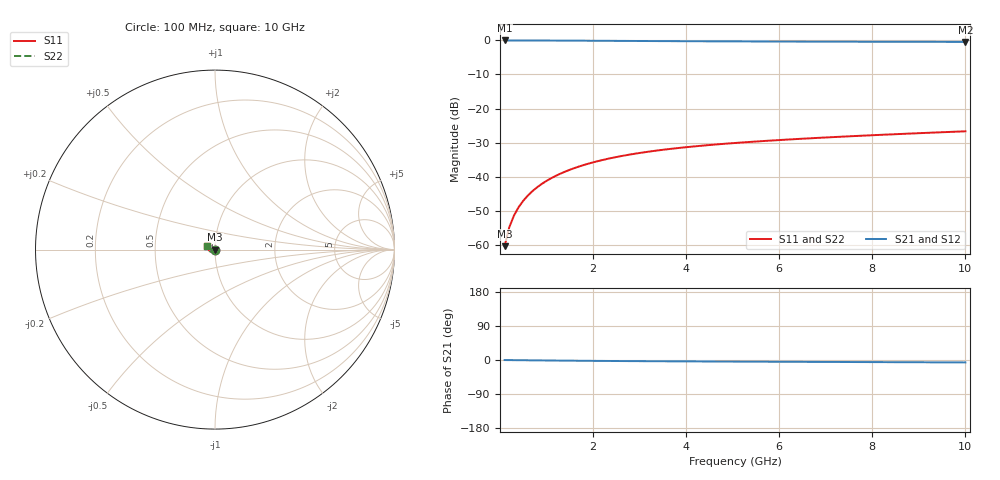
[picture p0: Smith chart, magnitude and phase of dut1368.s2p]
! Touchstone file exported from HFSS 2024.1.0
!  File:  C:/UserFiles/LocalFiles/RDL_TSV_Batchsim/temp_TSV1_1368_1780378989.aedt
!  Generated:  01:53:44 PM Jun  2, 2026
!  Design:  TSV1
!  Project:  temp_TSV1_1368_1780378989
!  Setup:  Setup1
!  Solution:  Sweep
! Variables:
!  dtsv = 6.63um
!  hbump = 3um
!  htsv = 99.95um
!  lrdl = 252.1521522um
!  p = 40
!  p1 = 47.99um
!  t = 500um
!  trdl = 3um
!  wrdl = 24.89489489um
# GHz S MA R 50.000000
! Terminal data exported
! Port[1] = TSV22_T1
! Port[2] = TSV22_T2
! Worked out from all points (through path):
!   100 points, 100 MHz to 10 GHz, reference 50 ohm
!   highest |S21| = 0.00 dB at 100 MHz (marker M1); lowest = -0.4 dB at 10 GHz (marker M2)
!   lowest |S11| = -60.4 dB at 100 MHz (marker M3), VSWR 1.00, Z = 50 - j0.0887 ohm
!   |S11| at or under -10 dB: start of sweep to end of sweep
!   |S22| runs from -60.4 to -26.7 dB; largest |S21 - S12| = 4e-15
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0.1  0.000952 -68.6  0.9996 -0.1  0.9996 -0.1  0.000952 -68.6
! Gamma 0 0 0 0
! Port Impedance 50 0 50 0
0.2  0.001805 -81.8  0.9995 -0.3  0.9995 -0.3  0.001805 -81.8
0.3  0.002677 -87.7  0.9993 -0.4  0.9993 -0.4  0.002677 -87.7
0.4  0.003549 -91.7  0.9991 -0.5  0.9991 -0.5  0.003549 -91.7
0.5  0.004419 -94.8  0.9988 -0.6  0.9988 -0.6  0.004419 -94.8
0.6  0.005283 -97.6  0.9985 -0.8  0.9985 -0.8  0.005283 -97.6
0.7  0.006139 -100.1  0.9981 -0.9  0.9981 -0.9  0.006139 -100.1
0.8  0.006988 -102.4  0.9977 -1.0  0.9977 -1.0  0.006988 -102.4
0.9  0.007826 -104.7  0.9972 -1.1  0.9972 -1.1  0.007826 -104.7
1.1  0.009469 -108.9  0.9961 -1.3  0.9961 -1.3  0.009469 -108.9
1.4  0.01184 -114.9  0.9942 -1.7  0.9942 -1.7  0.01184 -114.9
1.6  0.01335 -118.6  0.9927 -1.9  0.9927 -1.9  0.01335 -118.6
1.8  0.0148 -122.3  0.9912 -2.1  0.9912 -2.1  0.0148 -122.3
2.1  0.01686 -127.5  0.9888 -2.3  0.9888 -2.3  0.01686 -127.5
2.5  0.01939 -134.0  0.9856 -2.7  0.9856 -2.7  0.01939 -134.0
2.9  0.0217 -140.1  0.9823 -3.0  0.9823 -3.0  0.0217 -140.1
3.4  0.02429 -147.2  0.9784 -3.3  0.9784 -3.3  0.02429 -147.2
4.2  0.0279 -157.3  0.9729 -3.8  0.9729 -3.8  0.0279 -157.3
5.1  0.03137 -167.2  0.9676 -4.2  0.9676 -4.2  0.03137 -167.2
6.7  0.03666 178.3  0.9607 -5.0  0.9607 -5.0  0.03666 178.3
8.4  0.04171 165.9  0.9557 -5.7  0.9557 -5.7  0.04171 165.9
10  0.0463 156.5  0.9523 -6.4  0.9523 -6.4  0.0463 156.5
